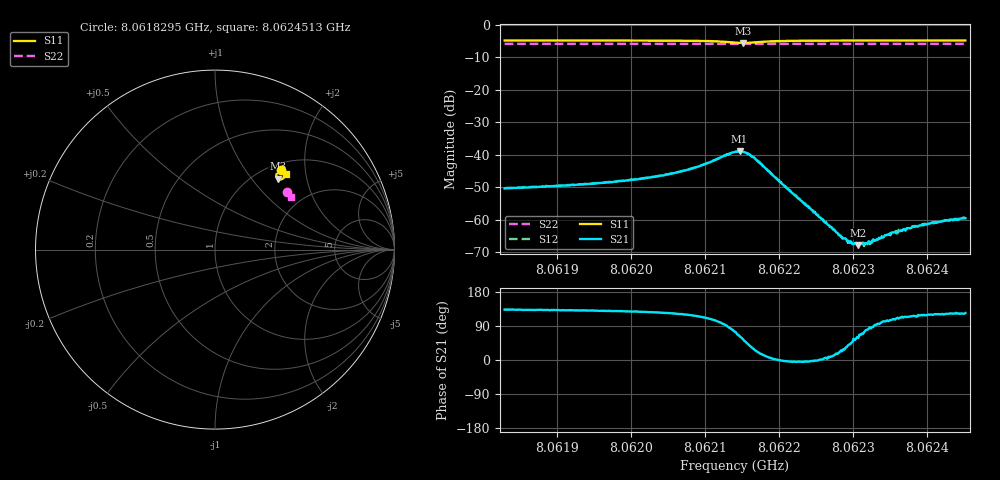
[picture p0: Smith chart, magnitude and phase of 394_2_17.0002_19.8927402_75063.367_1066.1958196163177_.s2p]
#  HZ  S  RI  R  50.00
! Rohde & Schwarz Vector Network Analyzer
! Rohde-Schwarz,ZNB20-2Port,1311601062101988,3.16
! Created: UTC 3/20/2024, 11:09:46 PM
! freq[Hz]  re:S11  im:S11  re:S21  im:S21  re:S12  im:S12  re:S22  im:S22
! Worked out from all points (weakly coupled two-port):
!   401 points, 8.0618295 GHz to 8.0624513 GHz, reference 50 ohm
!   highest |S21| = -38.92 dB at 8.0621467 GHz (marker M1); lowest = -67.8 dB at 8.0623068 GHz (marker M2)
!   lowest |S11| = -5.5 dB at 8.0621513 GHz (marker M3), VSWR 3.24, Z = 62.2 + j68.3 ohm
!   |S11| at or under -10 dB: nowhere
!   |S22| runs from -5.9 to -5.8 dB; largest |S21 - S12| = 0.00079
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8.06182954e9  0.3661 0.4447  -0.00207 0.00222  -0.00196 0.00237  0.3988 0.3218
8.06193369e9  0.3734 0.4383  -0.00228 0.00264  -0.00214 0.0028  0.4027 0.3167
8.06199587e9  0.3781 0.4333  -0.0025 0.00318  -0.00232 0.00333  0.4052 0.3134
8.06203784e9  0.3818 0.4285  -0.00272 0.00386  -0.00254 0.00404  0.4065 0.3112
8.06208758e9  0.3861 0.4178  -0.00284 0.00574  -0.00251 0.00594  0.4083 0.3082
8.06214044e9  0.3654 0.3905  0.00298 0.0107  0.00373 0.0105  0.4088 0.3049
8.06214665e9  0.3561 0.3918  0.00517 0.0101  0.00563 0.00975  0.4087 0.3048
8.06215132e9  0.3496 0.3955  0.00641 0.00903  0.00699 0.00866  0.4085 0.3047
8.06215909e9  0.3427 0.4053  0.00782 0.00658  0.00828 0.00609  0.4086 0.305
8.06216842e9  0.342 0.4182  0.00771 0.00353  0.00804 0.00311  0.4092 0.3051
8.06224459e9  0.3726 0.4344  0.00139 -5.12e-05  0.00141 -0.000188  0.4133 0.3017
8.06228345e9  0.3788 0.4318  0.000494 0.000233  0.00053 0.000203  0.4148 0.2996
8.06228967e9  0.3796 0.4314  0.000434 0.00028  0.000422 0.000246  0.4151 0.2993
8.06229899e9  0.3806 0.4309  0.000284 0.00031  0.000316 0.000294  0.4153 0.2988
8.06230676e9  0.3815 0.4302  0.000213 0.000346  0.000215 0.00037  0.4156 0.2986
8.06231454e9  0.3822 0.4298  0.000128 0.000415  0.000152 0.000362  0.416 0.2982
8.06232231e9  0.3831 0.4293  2.69e-05 0.000448  5.08e-05 0.000418  0.4163 0.2976
8.06233785e9  0.3845 0.4283  -8.26e-05 0.000518  -4.78e-05 0.000537  0.4169 0.2966
8.06234874e9  0.3856 0.4275  -0.000148 0.000587  -0.00013 0.00059  0.4173 0.296
8.06239071e9  0.3888 0.4251  -0.000389 0.000723  -0.000371 0.000772  0.4187 0.2939
8.06242335e9  0.3912 0.4232  -0.000496 0.000833  -0.000488 0.00086  0.4198 0.2922
8.06245133e9  0.393 0.4216  -0.000587 0.000878  -0.000512 0.000912  0.4208 0.2909
